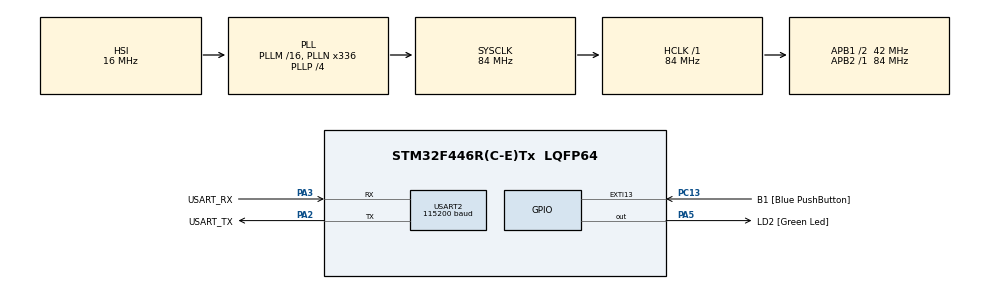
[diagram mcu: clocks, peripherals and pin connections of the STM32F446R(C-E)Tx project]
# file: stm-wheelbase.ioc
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Mcu.Family=STM32F4
Mcu.Name=STM32F446R(C-E)Tx
Mcu.Package=LQFP64
NVIC.PriorityGroup=NVIC_PRIORITYGROUP_0
NVIC.USART2_IRQn=true\:0\:0\:false\:false\:true\:true\:true\:true
PA13.GPIO_Label=TMS
PA13.Mode=Serial_Wire
PA13.Signal=SYS_JTMS-SWDIO
PA14.GPIO_Label=TCK
PA14.Mode=Serial_Wire
PA14.Signal=SYS_JTCK-SWCLK
PA2.GPIO_Label=USART_TX
PA2.Mode=Asynchronous
PA2.Signal=USART2_TX
PA3.GPIO_Label=USART_RX
PA3.Mode=Asynchronous
PA3.Signal=USART2_RX
PA5.GPIO_Label=LD2 [Green Led]
PA5.Signal=GPIO_Output
PB3.GPIO_Label=SWO
PB3.Signal=SYS_JTDO-SWO
PC13.GPIO_Label=B1 [Blue PushButton]
PC13.GPIO_ModeDefaultEXTI=GPIO_MODE_IT_FALLING
PC13.Signal=GPXTI13
PC14-OSC32_IN.Mode=LSE-External-Oscillator
PC14-OSC32_IN.Signal=RCC_OSC32_IN
PC15-OSC32_OUT.Mode=LSE-External-Oscillator
PC15-OSC32_OUT.Signal=RCC_OSC32_OUT
PH0-OSC_IN.Mode=HSE-External-Oscillator
PH0-OSC_IN.Signal=RCC_OSC_IN
PH1-OSC_OUT.Mode=HSE-External-Oscillator
PH1-OSC_OUT.Signal=RCC_OSC_OUT
ProjectManager.HeapSize=0x200
ProjectManager.StackSize=0x400
ProjectManager.TargetToolchain=STM32CubeIDE
RCC.48MHZClocksFreq_Value=84000000
RCC.AHBFreq_Value=84000000
RCC.APB1CLKDivider=RCC_HCLK_DIV2
RCC.APB1Freq_Value=42000000
RCC.APB1TimFreq_Value=84000000
RCC.APB2Freq_Value=84000000
RCC.APB2TimFreq_Value=84000000
RCC.CortexFreq_Value=84000000
RCC.FLatency-AdvancedSettings=FLASH_LATENCY_2
RCC.HCLKFreq_Value=84000000
RCC.HSE_VALUE=8000000
RCC.HSI_VALUE=16000000
RCC.PLLN=336
RCC.PLLP=RCC_PLLP_DIV4
RCC.SYSCLKFreq_VALUE=84000000
RCC.SYSCLKSource=RCC_SYSCLKSOURCE_PLLCLK
RCC.USBFreq_Value=168000000
RCC.VCOOutputFreq_Value=336000000
USART2.BaudRate=115200
USART2.Mode=MODE_TX_RX
USART2.VirtualMode=VM_ASYNC
board=NUCLEO-F446RE

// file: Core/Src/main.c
/* USER CODE BEGIN Header */
/**
  ******************************************************************************
  * @file           : main.c
  * @brief          : Main program body
  ******************************************************************************
  * @attention
  *
  * Copyright (c) 2024 STMicroelectronics.
  * All rights reserved.
  *
  * This software is licensed under terms that can be found in the LICENSE file
  * in the root directory of this software component.
  * If no LICENSE file comes with this software, it is provided AS-IS.
  *
  ******************************************************************************
  */
/* USER CODE END Header */
#include "main.h"

/* USER CODE BEGIN Includes */
#include <string.h>
#include <stdio.h>
#include <cJSON.h>
/* USER CODE END Includes */

/* USER CODE BEGIN PD */
#define BUFFER_SIZE 256
/* USER CODE END PD */

UART_HandleTypeDef huart2;

/* USER CODE BEGIN PV */
uint8_t rx_buffer[BUFFER_SIZE];  // Buffer to hold received data
uint8_t gCommandData[BUFFER_SIZE];  // Buffer to hold a copy of the received command
volatile uint8_t command_flag = 0;

// Telemetry data
volatile int tGear = 0;
volatile int tRpm = 0;
volatile int tSpeedKmh = 0;
volatile int tHasDRS = 0;
volatile int tDrs = 0;
volatile int tPitLim = 0;
volatile int tFuel = 0;
volatile int tBrakeBias = 0;
/* USER CODE END PV */

void SystemClock_Config(void);
static void MX_GPIO_Init(void);
static void MX_USART2_UART_Init(void);

/* USER CODE BEGIN 0 */
void process_command(char* cmd) {
	cJSON *json_data = cJSON_Parse(cmd);
	if (json_data != NULL) {
		// Extract data from the JSON object
		cJSON *rpm = cJSON_GetObjectItem(json_data, "rpm");
		cJSON *gear = cJSON_GetObjectItem(json_data, "gear");
		cJSON *speedKmh = cJSON_GetObjectItem(json_data, "speedKmh");
		cJSON *hasDRS = cJSON_GetObjectItem(json_data, "hasDRS");
		cJSON *drs = cJSON_GetObjectItem(json_data, "drs");
		cJSON *pitLim = cJSON_GetObjectItem(json_data, "pitLim");
		cJSON *fuel = cJSON_GetObjectItem(json_data, "fuel");
		cJSON *brakeBias = cJSON_GetObjectItem(json_data, "brakeBias");

		// Check if items were found and extract values
		if (cJSON_IsNumber(rpm)) { tRpm = rpm->valueint; }
		if (cJSON_IsNumber(gear)) { tGear = gear->valueint; }
		if (cJSON_IsNumber(speedKmh)) { tSpeedKmh = speedKmh->valueint; }
		if (cJSON_IsNumber(hasDRS)) { tHasDRS = hasDRS->valueint; }
		if (cJSON_IsNumber(drs)) { tDrs = drs->valueint; }
		if (cJSON_IsNumber(pitLim)) { tPitLim = pitLim->valueint; }
		if (cJSON_IsNumber(fuel)) { tFuel = fuel->valueint; }
		if (cJSON_IsNumber(brakeBias)) { tBrakeBias = brakeBias->valueint; }
		}
		// Cleanup
		cJSON_Delete(json_data);
		// Clear the buffer for the next message
		memset(gCommandData, 0, BUFFER_SIZE);
		// Re-enable UART reception
		HAL_UART_Receive_IT(&huart2, rx_buffer, sizeof(rx_buffer));
}
/* USER CODE END 0 */

int main(void)
{

  /* MCU Configuration--------------------------------------------------------*/

  /* Reset of all peripherals, Initializes the Flash interface and the Systick. */
  HAL_Init();

  /* Configure the system clock */
  SystemClock_Config();

  /* Initialize all configured peripherals */
  MX_GPIO_Init();
  MX_USART2_UART_Init();
  /* USER CODE BEGIN 2 */
  HAL_UART_Receive_IT(&huart2, rx_buffer, sizeof(rx_buffer));
  /* USER CODE END 2 */

  /* Infinite loop */
  /* USER CODE BEGIN WHILE */
  while (1)
  {
	  if(command_flag)
	  {
		  process_command(gCommandData);
		  command_flag = 0;
		  HAL_Delay(100); // ! Increase this is value update is slower due to more telemetry data params
		  if(tRpm >= 7000)
		  {
			  HAL_GPIO_WritePin(GPIOA, GPIO_PIN_5, GPIO_PIN_SET);
		  }
		  else
		  {
			  HAL_GPIO_WritePin(GPIOA, GPIO_PIN_5, GPIO_PIN_RESET);
		  }
		  // Re-enable UART reception
		  HAL_UART_Receive_IT(&huart2, rx_buffer, sizeof(rx_buffer));
	  }
    /* USER CODE END WHILE */

  }
}

void SystemClock_Config(void)
{
  RCC_OscInitTypeDef RCC_OscInitStruct = {0};
  RCC_ClkInitTypeDef RCC_ClkInitStruct = {0};

  /** Configure the main internal regulator output voltage
  */
  __HAL_RCC_PWR_CLK_ENABLE();
  __HAL_PWR_VOLTAGESCALING_CONFIG(PWR_REGULATOR_VOLTAGE_SCALE3);

  /** Initializes the RCC Oscillators according to the specified parameters
  * in the RCC_OscInitTypeDef structure.
  */
  RCC_OscInitStruct.OscillatorType = RCC_OSCILLATORTYPE_HSI;
  RCC_OscInitStruct.HSIState = RCC_HSI_ON;
  RCC_OscInitStruct.HSICalibrationValue = RCC_HSICALIBRATION_DEFAULT;
  RCC_OscInitStruct.PLL.PLLState = RCC_PLL_ON;
  RCC_OscInitStruct.PLL.PLLSource = RCC_PLLSOURCE_HSI;
  RCC_OscInitStruct.PLL.PLLM = 16;
  RCC_OscInitStruct.PLL.PLLN = 336;
  RCC_OscInitStruct.PLL.PLLP = RCC_PLLP_DIV4;
  RCC_OscInitStruct.PLL.PLLQ = 2;
  RCC_OscInitStruct.PLL.PLLR = 2;
  if (HAL_RCC_OscConfig(&RCC_OscInitStruct) != HAL_OK)
  {
    Error_Handler();
  }

  /** Initializes the CPU, AHB and APB buses clocks
  */
  RCC_ClkInitStruct.ClockType = RCC_CLOCKTYPE_HCLK|RCC_CLOCKTYPE_SYSCLK
                              |RCC_CLOCKTYPE_PCLK1|RCC_CLOCKTYPE_PCLK2;
  RCC_ClkInitStruct.SYSCLKSource = RCC_SYSCLKSOURCE_PLLCLK;
  RCC_ClkInitStruct.AHBCLKDivider = RCC_SYSCLK_DIV1;
  RCC_ClkInitStruct.APB1CLKDivider = RCC_HCLK_DIV2;
  RCC_ClkInitStruct.APB2CLKDivider = RCC_HCLK_DIV1;

  if (HAL_RCC_ClockConfig(&RCC_ClkInitStruct, FLASH_LATENCY_2) != HAL_OK)
  {
    Error_Handler();
  }
}

static void MX_USART2_UART_Init(void)
{

  huart2.Instance = USART2;
  huart2.Init.BaudRate = 115200;
  huart2.Init.WordLength = UART_WORDLENGTH_8B;
  huart2.Init.StopBits = UART_STOPBITS_1;
  huart2.Init.Parity = UART_PARITY_NONE;
  huart2.Init.Mode = UART_MODE_TX_RX;
  huart2.Init.HwFlowCtl = UART_HWCONTROL_NONE;
  huart2.Init.OverSampling = UART_OVERSAMPLING_16;
  if (HAL_UART_Init(&huart2) != HAL_OK)
  {
    Error_Handler();
  }

}

static void MX_GPIO_Init(void)
{
  GPIO_InitTypeDef GPIO_InitStruct = {0};

  /* GPIO Ports Clock Enable */
  __HAL_RCC_GPIOC_CLK_ENABLE();
  __HAL_RCC_GPIOH_CLK_ENABLE();
  __HAL_RCC_GPIOA_CLK_ENABLE();
  __HAL_RCC_GPIOB_CLK_ENABLE();

  /*Configure GPIO pin Output Level */
  HAL_GPIO_WritePin(LD2_GPIO_Port, LD2_Pin, GPIO_PIN_RESET);

  /*Configure GPIO pin : B1_Pin */
  GPIO_InitStruct.Pin = B1_Pin;
  GPIO_InitStruct.Mode = GPIO_MODE_IT_FALLING;
  GPIO_InitStruct.Pull = GPIO_NOPULL;
  HAL_GPIO_Init(B1_GPIO_Port, &GPIO_InitStruct);

  /*Configure GPIO pin : LD2_Pin */
  GPIO_InitStruct.Pin = LD2_Pin;
  GPIO_InitStruct.Mode = GPIO_MODE_OUTPUT_PP;
  GPIO_InitStruct.Pull = GPIO_NOPULL;
  GPIO_InitStruct.Speed = GPIO_SPEED_FREQ_LOW;
  HAL_GPIO_Init(LD2_GPIO_Port, &GPIO_InitStruct);

}

/* USER CODE BEGIN 4 */
void HAL_UART_RxCpltCallback(UART_HandleTypeDef *huart) {
    if (huart->Instance == USART2) {
        // Process the received data (rx_buffer)
    	memcpy(gCommandData, rx_buffer, sizeof(rx_buffer));
    	command_flag = 1; // Reset flag
        // Clear the buffer for the next message
        memset(rx_buffer, 0, BUFFER_SIZE);

    }
}

void HAL_UART_ErrorCallback(UART_HandleTypeDef *huart) {
    uint32_t error_code = HAL_UART_GetError(huart);

    // Identify which UART instance is causing the error (USART2 in this case)
    if (huart->Instance == USART2) {

        // Handle Overrun Error (ORE)
        if (error_code & HAL_UART_ERROR_ORE) {
            __HAL_UART_CLEAR_OREFLAG(huart);  // Clear overrun error flag
            // Optionally log or handle the error
            //send_response("UART Overrun Error");
        }

        // Handle Framing Error (FE)
        if (error_code & HAL_UART_ERROR_FE) {
            // Clear framing error flag automatically by reading the status register
        	//send_response("UART Framing Error");
        }

        // Handle Parity Error (PE)
        if (error_code & HAL_UART_ERROR_PE) {
            // Parity errors may indicate data corruption or mismatch in settings
        	//send_response("UART Parity Error");
        }

        // Handle Noise Error (NE)
        if (error_code & HAL_UART_ERROR_NE) {
            // Noise errors are usually transient but worth logging
        	//send_response("UART Noise Error");
        }

        // Recovery: Restart UART reception after clearing the error flags
        HAL_UART_Receive_IT(huart, rx_buffer, sizeof(rx_buffer));
    }
}

/* USER CODE END 4 */

void Error_Handler(void)
{
  __disable_irq();
  while (1)
  {
  }
}
